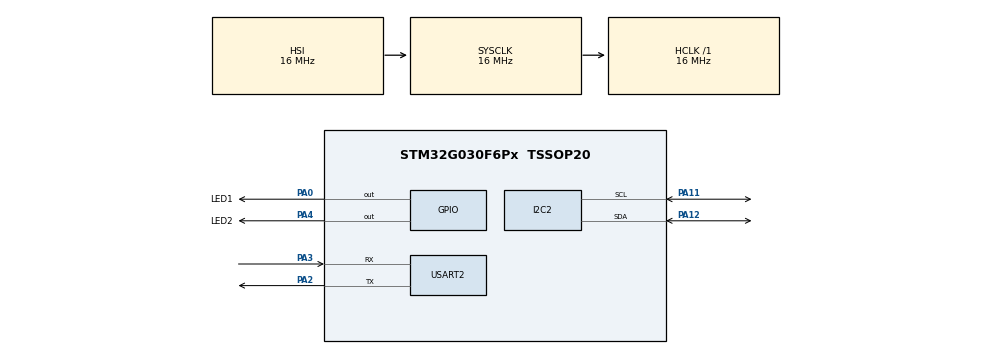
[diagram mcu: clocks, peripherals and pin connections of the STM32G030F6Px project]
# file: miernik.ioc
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I2C2.Timing=0x00503D58
Mcu.Family=STM32G0
Mcu.Name=STM32G030F6Px
Mcu.Package=TSSOP20
PA0.GPIO_Label=LED1
PA0.Signal=GPIO_Output
PA11\ [PA9].Mode=I2C
PA11\ [PA9].Signal=I2C2_SCL
PA12\ [PA10].Mode=I2C
PA12\ [PA10].Signal=I2C2_SDA
PA13.Mode=Serial_Wire
PA13.Signal=SYS_SWDIO
PA14-BOOT0.Mode=Serial_Wire
PA14-BOOT0.Signal=SYS_SWCLK
PA14-BOOT0__PA15.StandardMode=true
PA2.Mode=Asynchronous
PA2.Signal=USART2_TX
PA3.Mode=Asynchronous
PA3.Signal=USART2_RX
PA4.GPIO_Label=LED2
PA4.Signal=GPIO_Output
PB0__PB1__PB2__PA8.StandardMode=true
PB3__PB4__PB5__PB6.StandardMode=true
PB7__PB8.StandardMode=true
PC14-OSC32_IN\ (PC14)__PB9.StandardMode=true
ProjectManager.HeapSize=0x200
ProjectManager.StackSize=0x400
ProjectManager.TargetToolchain=CMake
RCC.AHBFreq_Value=16000000
RCC.CortexFreq_Value=16000000
RCC.EXTERNAL_CLOCK_VALUE=12288000
RCC.HCLKFreq_Value=16000000
RCC.HSE_VALUE=8000000
RCC.HSI_VALUE=16000000
RCC.LSE_VALUE=32768
RCC.SYSCLKFreq_VALUE=16000000
RCC.VCOOutputFreq_Value=128000000
USART2.VirtualMode-Asynchronous=VM_ASYNC
board=custom

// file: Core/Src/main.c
/* USER CODE BEGIN Header */
/**
  ******************************************************************************
  * @file           : main.c
  * @brief          : Main program body
  ******************************************************************************
  * @attention
  *
  * Copyright (c) 2026 STMicroelectronics.
  * All rights reserved.
  *
  * This software is licensed under terms that can be found in the LICENSE file
  * in the root directory of this software component.
  * If no LICENSE file comes with this software, it is provided AS-IS.
  *
  ******************************************************************************
  */
/* USER CODE END Header */
#include "main.h"
#include "usart.h"
#include "gpio.h"

/* USER CODE BEGIN Includes */
#include "i2c.h"
#include "ssd1306.h"
#include "ssd1306_fonts.h"
#include <stdio.h>
/* USER CODE END Includes */

/* USER CODE BEGIN PV */
  uint8_t i2c_OLED_connected = 0;
  uint8_t i2c_volt_sensor_connected = 0;
/* USER CODE END PV */

void SystemClock_Config(void);

/* USER CODE BEGIN 0 */

//read data from INA detector
#define INA226_ADDR (0x40 << 1)
#define INA226_REG_BUS_VOLT 0x02
#define INA226_REG_CONFIG 0x00
#define INA226_REG_POWER 0x03
#define INA226_REG_CURRENT 0x04
#define INA226_REG_CALIB 0x05

#define INA226_CURRENT_LSB  0.0001f
#define INA226_POWER_LSB    (25.0f * INA226_CURRENT_LSB)

HAL_StatusTypeDef INA226_WriteRegister(uint8_t reg, uint16_t value)
{
  uint8_t buf[2];
  buf[0] = (uint8_t)(value >> 8);
  buf[1] = (uint8_t)(value & 0xFF);
  return HAL_I2C_Mem_Write(&hi2c2, INA226_ADDR, reg, 1, buf, 2, 20);
}

float INA226_ReadBusVoltage()
{
  uint8_t buf[2];
  if (HAL_I2C_Mem_Read(&hi2c2,INA226_ADDR, INA226_REG_BUS_VOLT, 1, buf, 2, 20)==HAL_OK)
  {
    uint16_t raw = (buf[0] << 8) | buf[1];
    return (float)raw * 0.00125f;
  }
  return 0.0f;
}

float INA226_ReadCurrent()
{
  uint8_t buf[2];
  if (HAL_I2C_Mem_Read(&hi2c2,INA226_ADDR, INA226_REG_CURRENT, 1, buf, 2, 20)==HAL_OK)
  {
    int16_t raw = (int16_t)((buf[0] << 8) | buf[1]);
    return (float)raw * INA226_CURRENT_LSB;
  }
  return 0.0f;
}

float INA226_ReadPower()
{
  uint8_t buf[2];
  if (HAL_I2C_Mem_Read(&hi2c2,INA226_ADDR, INA226_REG_POWER, 1, buf, 2, 20)==HAL_OK)
  {
    uint16_t raw = (uint16_t)((buf[0] << 8) | buf[1]);
    return (float)raw * INA226_POWER_LSB;
  }
  return 0.0f;
}

void LED1_Update(uint8_t is_connected){
  static uint32_t last_toggle = 0;
  uint32_t now = HAL_GetTick();
  if (is_connected){
    HAL_GPIO_WritePin(LED1_GPIO_Port, LED1_Pin, GPIO_PIN_SET);
  } else{
    if (now - last_toggle >= 100){
      last_toggle = now;
      HAL_GPIO_TogglePin(LED1_GPIO_Port, LED1_Pin);
    }
  }
}

void LED2_Update(uint8_t is_connected){
  static uint32_t last_toggle = 0;
  uint32_t now = HAL_GetTick();
  if (is_connected){
    HAL_GPIO_WritePin(LED2_GPIO_Port, LED2_Pin, GPIO_PIN_SET);
  } else{
    if (now - last_toggle >= 100){
      last_toggle = now;
      HAL_GPIO_TogglePin(LED2_GPIO_Port, LED2_Pin);
    }
  }
}

/* USER CODE END 0 */

int main(void)
{

  /* MCU Configuration--------------------------------------------------------*/

  /* Reset of all peripherals, Initializes the Flash interface and the Systick. */
  HAL_Init();

  /* Configure the system clock */
  SystemClock_Config();

  /* Initialize all configured peripherals */
  MX_GPIO_Init();
  MX_USART2_UART_Init();
  MX_I2C2_Init();
  /* USER CODE BEGIN 2 */
  ssd1306_Init();

  ssd1306_Fill(Black);
  ssd1306_SetCursor(10,20);
  ssd1306_WriteString("Hello!", Font_11x18, White);
  ssd1306_UpdateScreen();

  HAL_Delay(2000);

  // inicialization of INA226
  INA226_WriteRegister(INA226_REG_CALIB, 5120); // value vor 0.01 Ohm

  INA226_WriteRegister(INA226_REG_CONFIG, 0x4727);

  /* USER CODE END 2 */

  /* Infinite loop */
  /* USER CODE BEGIN WHILE */
while (1)
  {
    LED1_Update(i2c_OLED_connected);
    LED2_Update(i2c_volt_sensor_connected);

    static uint32_t last_i2c_check = 0;
    if (HAL_GetTick() - last_i2c_check >= 500)
    {
      last_i2c_check = HAL_GetTick();

      if (HAL_I2C_IsDeviceReady(&hi2c2, (0x3C << 1), 2, 10) == HAL_OK)
      {
        i2c_OLED_connected = 1;
      }
      else
      {
        i2c_OLED_connected = 0;
      }
      if (HAL_I2C_IsDeviceReady(&hi2c2, (0x40 << 1), 2, 10) == HAL_OK)
      {
        i2c_volt_sensor_connected = 1;
      }
      else
      {
        i2c_volt_sensor_connected = 0;
      }

    }

    static uint32_t last_OLED_refresh = 0;
    if (HAL_GetTick() - last_OLED_refresh >= 200)
    {
      last_OLED_refresh = HAL_GetTick();
      if (i2c_volt_sensor_connected && i2c_OLED_connected)
      {
        float voltage = INA226_ReadBusVoltage();
        float current = INA226_ReadCurrent();
        float power = INA226_ReadPower();

        char display_voltage[16];
        uint16_t v_int = (uint16_t)voltage;
        uint16_t v_dec = (uint16_t)((voltage - v_int) * 100);
        snprintf(display_voltage, sizeof(display_voltage), "%d.%02d V", v_int, v_dec);

        char display_current[16];
        uint16_t curr_int = (uint16_t)current;
        uint16_t curr_dec = (uint16_t)((current - curr_int) * 100);
        snprintf(display_current, sizeof(display_current), "%d.%02d A", curr_int, curr_dec);

        char display_power[16];
        uint16_t power_int = (uint16_t)power;
        uint16_t power_dec = (uint16_t)((power - power_int) * 100);
        snprintf(display_power, sizeof(display_power), "%d.%02d W", power_int, power_dec);

        //display
        ssd1306_Fill(Black);
        ssd1306_SetCursor(0, 5);
        ssd1306_WriteString("Voltage:", Font_7x10, White);
        ssd1306_SetCursor(60, 5);
        ssd1306_WriteString(display_voltage, Font_7x10, White);

        ssd1306_SetCursor(0, 20);
        ssd1306_WriteString("Current:", Font_7x10, White);
        ssd1306_SetCursor(60, 20);
        ssd1306_WriteString(display_current, Font_7x10, White);

        ssd1306_SetCursor(0, 35);
        ssd1306_WriteString("Power:", Font_7x10, White);
        ssd1306_SetCursor(60, 35);
        ssd1306_WriteString(display_power, Font_7x10, White);

        ssd1306_UpdateScreen();
      }
    }
    __WFI();
    /* USER CODE END WHILE */

  }
}

void SystemClock_Config(void)
{
  RCC_OscInitTypeDef RCC_OscInitStruct = {0};
  RCC_ClkInitTypeDef RCC_ClkInitStruct = {0};

  /** Configure the main internal regulator output voltage
  */
  HAL_PWREx_ControlVoltageScaling(PWR_REGULATOR_VOLTAGE_SCALE1);

  /** Initializes the RCC Oscillators according to the specified parameters
  * in the RCC_OscInitTypeDef structure.
  */
  RCC_OscInitStruct.OscillatorType = RCC_OSCILLATORTYPE_HSI;
  RCC_OscInitStruct.HSIState = RCC_HSI_ON;
  RCC_OscInitStruct.HSIDiv = RCC_HSI_DIV1;
  RCC_OscInitStruct.HSICalibrationValue = RCC_HSICALIBRATION_DEFAULT;
  RCC_OscInitStruct.PLL.PLLState = RCC_PLL_NONE;
  if (HAL_RCC_OscConfig(&RCC_OscInitStruct) != HAL_OK)
  {
    Error_Handler();
  }

  /** Initializes the CPU, AHB and APB buses clocks
  */
  RCC_ClkInitStruct.ClockType = RCC_CLOCKTYPE_HCLK|RCC_CLOCKTYPE_SYSCLK
                              |RCC_CLOCKTYPE_PCLK1;
  RCC_ClkInitStruct.SYSCLKSource = RCC_SYSCLKSOURCE_HSI;
  RCC_ClkInitStruct.AHBCLKDivider = RCC_SYSCLK_DIV1;
  RCC_ClkInitStruct.APB1CLKDivider = RCC_HCLK_DIV1;

  if (HAL_RCC_ClockConfig(&RCC_ClkInitStruct, FLASH_LATENCY_0) != HAL_OK)
  {
    Error_Handler();
  }
}

void Error_Handler(void)
{
  __disable_irq();
  while (1)
  {
  }
}
